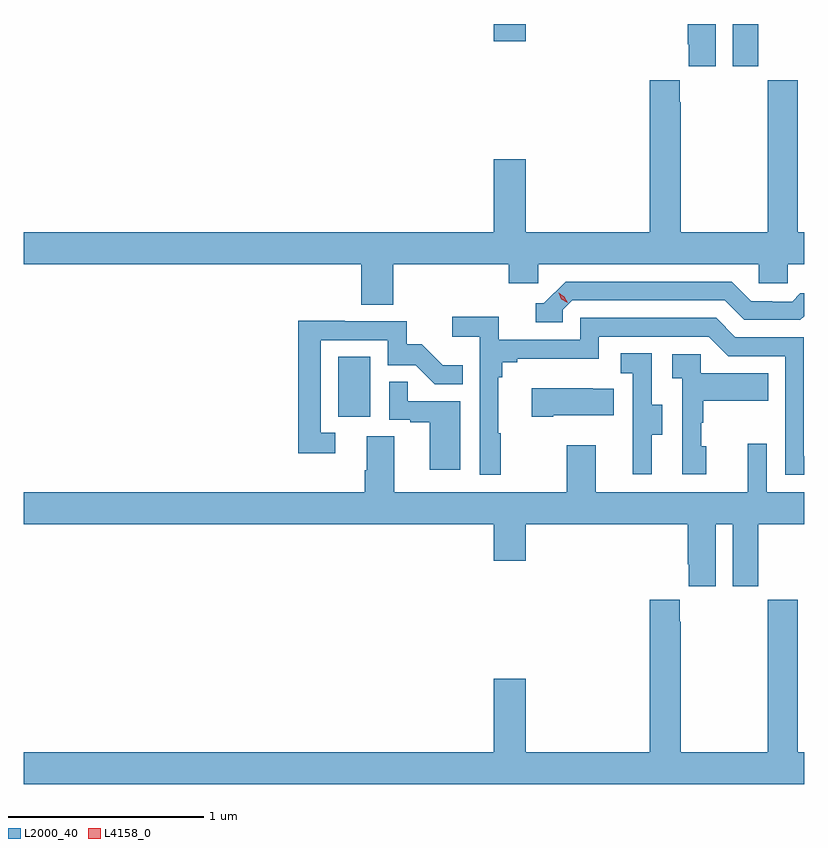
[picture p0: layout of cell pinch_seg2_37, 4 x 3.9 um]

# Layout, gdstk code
import gdstk
lib = gdstk.Library(unit=1e-6, precision=1e-09)
def R(c, l, rs):  # rectangles x0, y0, x1, y1
    for r in rs: c.add(gdstk.rectangle(r[:2], r[2:], *l))
def P(c, l, *ps):  # polygons
    for p in ps: c.add(gdstk.Polygon(p, *l))
L2000_40 = (2000, 40)
L4158_0 = (4158, 0)

pinch_seg2_37 = lib.new_cell('pinch_seg2_37')
R(pinch_seg2_37, L2000_40, [(1141.232,657.51,1141.396,657.817), (1143.254,659.307,1143.385,659.524), (1142.03,659.436,1142.194,659.524)])
P(pinch_seg2_37, L2000_40, [(1143.166,659.524),(1143.023,659.524),(1143.023,659.419),(1143.029,659.419),(1143.029,659.307),(1143.166,659.307)],
  [(1141.514,658.292),(1142.105,658.292),(1142.105,658.194),(1142.256,658.194),(1142.256,658.292),(1143.387,658.292),(1143.387,658.194),(1143.537,658.194),(1143.537,658.292),(1143.62,658.292),(1143.62,658.456),(1143.588,658.456),(1143.588,659.236),(1143.433,659.236),(1143.433,658.456),(1142.988,658.456),(1142.988,659.123),(1142.983,659.123),(1142.983,659.236),(1142.828,659.236),(1142.828,658.456),(1142.194,658.456),(1142.194,658.831),(1142.03,658.831),(1142.03,658.456),(1139.62,658.456),(1139.62,658.292),(1141.349,658.292),(1141.349,658.084),(1141.514,658.084)],
  [(1142.382,658.059),(1142.43,658.107),(1143.213,658.107),(1143.312,658.008),(1143.601,658.008),(1143.62,658.027),(1143.62,658.144),(1143.601,658.144),(1143.559,658.101),(1143.456,658.101),(1143.456,658.104),(1143.349,658.104),(1143.25,658.203),(1142.397,658.203),(1142.286,658.092),(1142.243,658.092),(1142.243,657.996),(1142.382,657.996)],
  [(1142.065,657.425),(1142.053,657.425),(1142.053,657.713),(1142.072,657.713),(1142.072,657.79),(1142.149,657.79),(1142.149,657.809),(1142.568,657.809),(1142.568,657.921),(1143.132,657.921),(1143.231,657.822),(1143.522,657.822),(1143.522,657.213),(1143.62,657.213),(1143.62,657.309),(1143.618,657.309),(1143.618,657.918),(1143.268,657.918),(1143.169,658.017),(1142.472,658.017),(1142.472,657.906),(1142.054,657.906),(1142.054,658.022),(1141.815,658.022),(1141.815,657.92),(1141.956,657.92),(1141.956,657.213),(1142.065,657.213)],
  [(1141.216,657.429),(1141.143,657.429),(1141.143,657.903),(1141.485,657.903),(1141.485,657.774),(1141.629,657.774),(1141.727,657.676),(1141.871,657.676),(1141.871,657.775),(1141.767,657.775),(1141.66,657.882),(1141.584,657.882),(1141.584,657.999),(1141.265,657.999),(1141.265,658.004),(1141.027,658.004),(1141.027,657.324),(1141.216,657.324)],
  [(1142.839,657.418),(1142.893,657.418),(1142.893,657.573),(1142.838,657.573),(1142.838,657.836),(1142.679,657.836),(1142.679,657.733),(1142.742,657.733),(1142.742,657.429),(1142.741,657.429),(1142.741,657.216),(1142.839,657.216)],
  [(1143.118,657.36),(1143.093,657.36),(1143.093,657.479),(1143.103,657.479),(1143.103,657.593),(1143.437,657.593),(1143.437,657.733),(1143.09,657.733),(1143.09,657.831),(1142.943,657.831),(1142.943,657.707),(1142.994,657.707),(1142.994,657.216),(1143.118,657.216)],
  [(1141.858,657.591),(1141.589,657.591),(1141.589,657.689),(1141.494,657.689),(1141.494,657.495),(1141.601,657.495),(1141.601,657.483),(1141.7,657.483),(1141.7,657.24),(1141.858,657.24)],
  [(1142.335,657.518),(1142.645,657.518),(1142.645,657.655),(1142.537,657.655),(1142.537,657.658),(1142.223,657.658),(1142.223,657.511),(1142.335,657.511)],
  [(1143.166,656.96),(1143.254,656.96),(1143.254,656.643),(1143.385,656.643),(1143.385,656.96),(1143.62,656.96),(1143.62,657.124),(1143.429,657.124),(1143.429,657.373),(1143.332,657.373),(1143.332,657.124),(1142.551,657.124),(1142.551,657.364),(1142.404,657.364),(1142.404,657.124),(1141.519,657.124),(1141.519,657.41),(1141.379,657.41),(1141.379,657.236),(1141.367,657.236),(1141.367,657.124),(1139.62,657.124),(1139.62,656.96),(1142.03,656.96),(1142.03,656.772),(1142.194,656.772),(1142.194,656.96),(1143.023,656.96),(1143.023,656.755),(1143.029,656.755),(1143.029,656.643),(1143.166,656.643)],
  [(1143.62,655.792),(1143.588,655.792),(1143.588,656.572),(1143.433,656.572),(1143.433,655.792),(1142.988,655.792),(1142.988,656.459),(1142.983,656.459),(1142.983,656.572),(1142.828,656.572),(1142.828,655.792),(1142.194,655.792),(1142.194,656.167),(1142.03,656.167),(1142.03,655.792),(1139.62,655.792),(1139.62,655.628),(1143.62,655.628)])
P(pinch_seg2_37, L4158_0, [(1142.407,658.094),(1142.376,658.114),(1142.361,658.147),(1142.361,658.147),(1142.361,658.147),(1142.391,658.127),(1142.407,658.094),(1142.407,658.094)])

lib.write_gds('pinch_seg2_37.gds')
